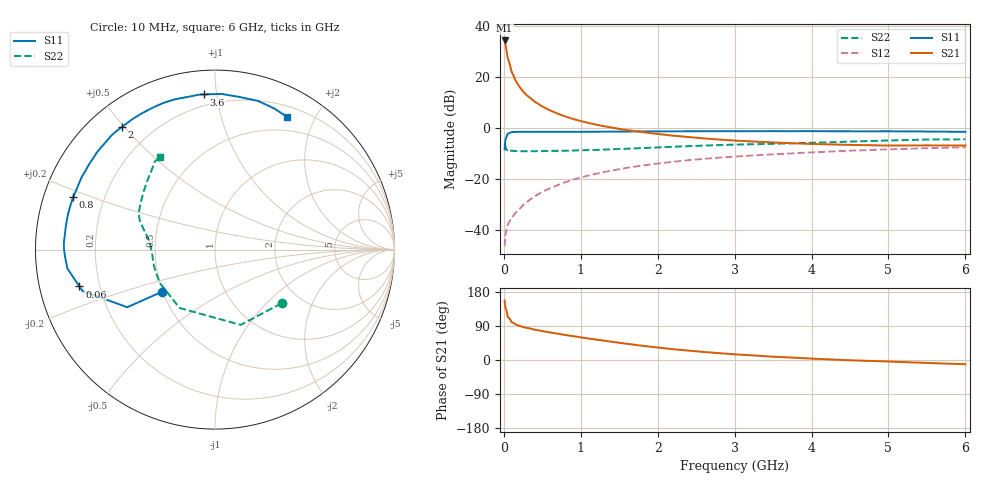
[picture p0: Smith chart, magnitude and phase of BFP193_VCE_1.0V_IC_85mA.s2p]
! (c) 2017  Infineon Technologies AG, Munich
! Infineon Technologies  Discrete & RF Semiconductors
! BFP193
! VCE =  1.0 V,  IC =  85 mA
! Common Emitter S-Parameters:  Jan 2017
# GHz  S  MA  R  50
!  f  S11  S21  S12  S22
! GHz  MAG  ANG  MAG  ANG  MAG  ANG  MAG  ANG
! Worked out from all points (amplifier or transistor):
!   77 points, 10 MHz to 6 GHz, reference 50 ohm
!   highest |S21| = 34.4 dB at 10 MHz (marker M1)
!   |S21| within 3 dB of that: start of sweep to 29.18 MHz
!   unconditionally stable (mu >= 1): start of sweep to 15.16 MHz; 159.2 MHz to end of sweep
!   at 130 MHz: K = 0.92, MSG = 27.2 dB, |S12| = -34.2 dB
!   at 2.2 GHz: K = 1.10, MAG = 3.3 dB, |S12| = -13.3 dB
!   at 6 GHz: K = 1.07, MAG = -1.3 dB, |S12| = -7.6 dB
!   S11 on the Smith chart (normalised r, x): 10 MHz: 0.49, -0.27; 60 MHz: 0.12, -0.13; 800 MHz: 0.09, +0.18; 2 GHz: 0.10, +0.49; 3.6 GHz: 0.13, +0.92; 6 GHz: 0.32, +1.63
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0.01  0.3799 -141.6  52.2 156.8  0.0048 63.8  0.4766 -38.9
0.02  0.5852 -146.7  43.63 139.3  0.0078 57.4  0.4433 -71.2
0.05  0.7736 -162.7  23.82 113.7  0.0127 44.3  0.3803 -121.2
0.06  0.7827 -164.8  21.55 112.1  0.0135 46.3  0.3694 -126.4
0.1  0.8295 -172.8  12.79 100.1  0.0169 52.2  0.3591 -148.8
0.15  0.8367 -177.5  8.651 94.3  0.0214 56.1  0.3532 -159.5
0.2  0.8416 179.6  6.516 90.2  0.0254 61.9  0.352 -165.3
0.25  0.843 177.1  5.22 87.1  0.0308 64.3  0.3501 -168.8
0.3  0.8408 175.2  4.358 84.6  0.0354 66.0  0.3502 -171.6
0.4  0.8411 171.7  3.291 80.1  0.0453 68.2  0.3506 -175.1
0.5  0.8417 168.4  2.64 76.3  0.0558 68.9  0.352 -177.7
0.6  0.8423 165.3  2.216 72.7  0.0659 68.3  0.3557 -179.8
0.8  0.8428 159.8  1.682 65.9  0.0865 67.7  0.3584 177.0
1.1  0.8458 151.5  1.257 56.8  0.1171 64.5  0.3689 173.2
1.5  0.8521 140.7  0.96 45.5  0.1556 58.9  0.3874 168.5
2  0.8577 127.3  0.763 32.9  0.2007 51.1  0.4157 163.8
2.1  0.8583 124.7  0.734 30.8  0.2087 49.6  0.4221 162.7
3.1  0.865 103.0  0.557 13.8  0.2805 34.8  0.4755 152.7
3.6  0.8666 94.0  0.513 7.8  0.3099 28.2  0.4937 146.3
4.1  0.8657 86.1  0.483 2.8  0.3373 21.8  0.5177 139.4
5.1  0.8595 72.5  0.453 -4.8  0.3846 9.6  0.574 127.3
6  0.8421 61.7  0.454 -11.1  0.419 -0.5  0.5997 120.6
